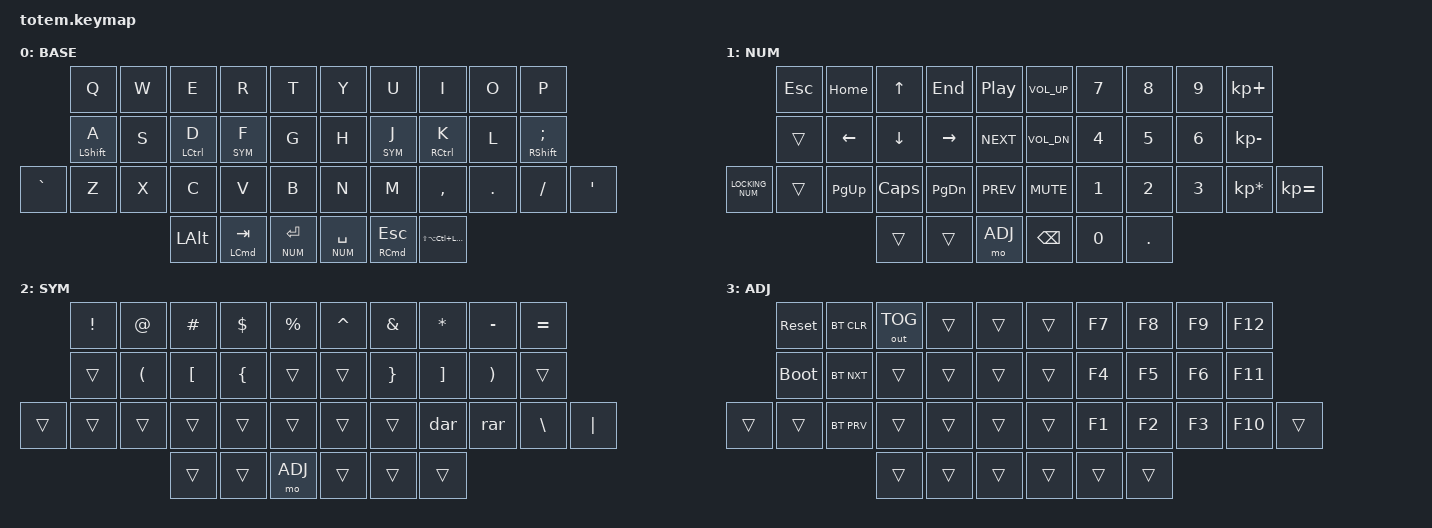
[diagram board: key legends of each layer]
//
//                                                        ▀▀▀▀▀     ▀▀▀▀▀          ▀▀█▀▀
//                                                        ▄▀▀▀▄  ▄  ▄▀▀▀▄  ▄  ▄▀▀▀▄  █  ▄▀▀▀▄
//                                                        █   █  █  █   █  █  █   █  █  █   █
//                                                         ▀▀▀   █   ▀▀▀   █   ▀▀▀   ▀   ▀▀▀
//                                                               █      ▄▄▄█▄▄▄    █   █
//                                                               ▀      █  █  █     █▄█
//                                                             ▀▀▀▀▀    █  █  █      ▀
//                                                                      ▀  ▀  ▀
//
// ▄▄▄▄▄▄▄▄▄▄▄▄▄▄▄▄▄▄▄▄▄▄▄▄▄▄▄▄▄▄▄▄▄▄▄▄▄▄▄▄▄▄▄▄▄▄▄▄▄▄▄▄▄▄▄▄▄▄▄▄▄▄▄▄▄▄▄▄▄▄▄▄▄▄▄▄▄▄▄▄▄▄▄▄▄▄▄▄▄▄▄▄▄▄▄▄▄▄▄▄▄▄▄▄▄▄▄▄▄▄▄▄▄▄▄▄▄▄▄▄▄▄▄▄▄▄▄▄▄▄▄▄▄▄▄▄▄▄▄▄▄▄▄▄▄▄▄▄▄

#include <behaviors.dtsi>
#include <dt-bindings/zmk/bt.h>
#include <dt-bindings/zmk/keys.h>
#include <dt-bindings/zmk/outputs.h>

#define BASE 0
#define NUM  1
#define SYM  2
#define ADJ  3
#define HYPER LS(LA(LC(LEFT_META)))

&mt {
    quick-tap-ms = <100>;
    global-quick-tap;
    flavor = "tap-preferred";
    tapping-term-ms = <170>;
};

/ {
    combos {
        compatible = "zmk,combos";

        combo_esc {
            timeout-ms = <50>;
            key-positions = <0 1>;
            bindings = <&kp ESC>;
        };
    };

    macros {
        gif: gif {
            label = "giphy";
            compatible = "zmk,behavior-macro";
            #binding-cells = <0>;
            bindings =
                <&macro_press>,
                <&kp LSHFT>,
                <&macro_tap>,
                <&kp N2>,
                <&macro_release>,
                <&kp LSHFT>,
                <&macro_tap>,
                <&kp G &kp I &kp F>;
        };

        rar: rar {
            label = "right arrow";
            compatible = "zmk,behavior-macro";
            #binding-cells = <0>;
            bindings = <&macro_tap>, <&kp MINUS &kp GT>;
        };

        dar: dar {
            label = "double right arrow";
            compatible = "zmk,behavior-macro";
            #binding-cells = <0>;
            bindings = <&macro_tap>, <&kp EQUAL &kp GT>;
        };
    };

    keymap {
        compatible = "zmk,keymap";

        // ▄▄▄▄▄▄▄▄▄▄▄▄▄▄▄▄▄▄▄▄▄▄▄▄▄▄▄▄▄▄▄▄▄▄▄▄▄▄▄▄▄▄▄▄▄▄▄▄▄▄▄▄▄▄▄▄▄▄▄▄▄▄▄▄▄▄▄▄▄▄▄▄▄▄▄▄▄▄▄▄▄▄▄▄▄▄▄▄▄▄▄▄▄▄▄▄▄▄▄▄▄▄▄▄▄▄▄▄▄▄▄▄▄▄▄▄▄▄▄▄▄▄▄▄▄▄▄▄▄▄▄▄▄▄▄▄▄▄▄▄▄▄▄▄▄▄▄▄▄

        base_layer {
            // ┏━━━━━━━━━━━━━━━━━━━━━━━━━━━━━━━━━━━━━━━┓

            label = "BASE";

            // ┗━━━━━━━━━━━━━━━━━━━━━━━━━━━━━━━━━━━━━━━┛
            //             ┏━━━━━━━━━━━┳━━━━━━━━━━━┳━━━━━━━━━━━┳━━━━━━━━━━━┳━━━━━━━━━━━┓   ┏━━━━━━━━━━━┳━━━━━━━━━━━┳━━━━━━━━━━━┳━━━━━━━━━━━┳━━━━━━━━━━━┓
            //             ┃     Q     ┃     W     ┃     E     ┃     R     ┃     T     ┃   ┃     Y     ┃     U     ┃     I     ┃     O     ┃     P     ┃
            //             ┣━━━━━━━━━━━╋━━━━━━━━━━━╋━━━━━━━━━━━╋━━━━━━━━━━━╋━━━━━━━━━━━┫   ┣━━━━━━━━━━━╋━━━━━━━━━━━╋━━━━━━━━━━━╋━━━━━━━━━━━╋━━━━━━━━━━━┫
            //             ┃   ⇧ | A   ┃     S     ┃   ^ | D   ┃  SYM | F  ┃     G     ┃   ┃     H     ┃  SYM | J  ┃   ^ | K   ┃     L     ┃   ⇧ | ;   ┃
            // ┏━━━━━━━━━━━╋━━━━━━━━━━━╋━━━━━━━━━━━╋━━━━━━━━━━━╋━━━━━━━━━━━╋━━━━━━━━━━━┫   ┣━━━━━━━━━━━╋━━━━━━━━━━━╋━━━━━━━━━━━╋━━━━━━━━━━━╋━━━━━━━━━━━╋━━━━━━━━━━━┓
            // ┃   ` | ~   ┃     Z     ┃     X     ┃     C     ┃     V     ┃     B     ┃   ┃     N     ┃     M     ┃     ,     ┃     .     ┃     /     ┃     '     ┃
            // ┗━━━━━━━━━━━┻━━━━━━━━━━━┻━━━━━━━━━━━╋━━━━━━━━━━━╋━━━━━━━━━━━╋━━━━━━━━━━━┫   ┣━━━━━━━━━━━╋━━━━━━━━━━━╋━━━━━━━━━━━╋━━━━━━━━━━━┻━━━━━━━━━━━┻━━━━━━━━━━━┛
            //                                     ┃     ⌥     ┃   ⌘ | ⇥   ┃  NUM | ⏎  ┃   ┃  NUM | _  ┃  ⌘ | ESC  ┃   HYPER   ┃
            //                                     ┗━━━━━━━━━━━┻━━━━━━━━━━━┻━━━━━━━━━━━┛   ┗━━━━━━━━━━━┻━━━━━━━━━━━┻━━━━━━━━━━━┛

            bindings = <
           &kp Q        &kp W  &kp E        &kp R         &kp T          &kp Y          &kp U         &kp I                 &kp O    &kp P
           &mt LSHFT A  &kp S  &mt LCTRL D  &lt SYM F     &kp G          &kp H          &lt SYM J     &mt RCTRL K           &kp L    &mt RSHFT SEMI
&kp GRAVE  &kp Z        &kp X  &kp C        &kp V         &kp B          &kp N          &kp M         &kp COMMA             &kp DOT  &kp FSLH        &kp SQT
                               &kp LALT     &mt LCMD TAB  &lt NUM RET    &lt NUM SPACE  &mt RCMD ESC  &kp LS(LA(LC(LCMD)))
            >;
        };

        // ▄▄▄▄▄▄▄▄▄▄▄▄▄▄▄▄▄▄▄▄▄▄▄▄▄▄▄▄▄▄▄▄▄▄▄▄▄▄▄▄▄▄▄▄▄▄▄▄▄▄▄▄▄▄▄▄▄▄▄▄▄▄▄▄▄▄▄▄▄▄▄▄▄▄▄▄▄▄▄▄▄▄▄▄▄▄▄▄▄▄▄▄▄▄▄▄▄▄▄▄▄▄▄▄▄▄▄▄▄▄▄▄▄▄▄▄▄▄▄▄▄▄▄▄▄▄▄▄▄▄▄▄▄▄▄▄▄▄▄▄▄▄▄▄▄▄▄▄▄

        nav_layer {
            // ┏━━━━━━━━━━━━━━━━━━━━━━━━━━━━━━━━━━━━━━━┓

            label = "NUM";

            // ┗━━━━━━━━━━━━━━━━━━━━━━━━━━━━━━━━━━━━━━━┛
            //             ┏━━━━━━━━━━━┳━━━━━━━━━━━┳━━━━━━━━━━━┳━━━━━━━━━━━┳━━━━━━━━━━━┓   ┏━━━━━━━━━━━┳━━━━━━━━━━━┳━━━━━━━━━━━┳━━━━━━━━━━━┳━━━━━━━━━━━┓
            //             ┃           ┃   HOME    ┃     UP    ┃    END    ┃     ⏯︎     ┃   ┃     🔊    ┃     7     ┃     8     ┃     9     ┃     +     ┃
            //             ┣━━━━━━━━━━━╋━━━━━━━━━━━╋━━━━━━━━━━━╋━━━━━━━━━━━╋━━━━━━━━━━━┫   ┣━━━━━━━━━━━╋━━━━━━━━━━━╋━━━━━━━━━━━╋━━━━━━━━━━━╋━━━━━━━━━━━┫
            //             ┃           ┃   LEFT    ┃    DOWN   ┃   RIGHT   ┃     ⏭︎     ┃   ┃     🔉    ┃     4     ┃     5     ┃     6     ┃     -     ┃
            // ┏━━━━━━━━━━━╋━━━━━━━━━━━╋━━━━━━━━━━━╋━━━━━━━━━━━╋━━━━━━━━━━━╋━━━━━━━━━━━┫   ┣━━━━━━━━━━━╋━━━━━━━━━━━╋━━━━━━━━━━━╋━━━━━━━━━━━╋━━━━━━━━━━━╋━━━━━━━━━━━┓
            // ┃           ┃           ┃   P UP    ┃  C LOCK   ┃  P DOWN   ┃     ⏮︎     ┃   ┃     🔇    ┃     1     ┃     2     ┃     3     ┃     *     ┃     =     ┃
            // ┗━━━━━━━━━━━┻━━━━━━━━━━━┻━━━━━━━━━━━╋━━━━━━━━━━━╋━━━━━━━━━━━╋━━━━━━━━━━━┫   ┣━━━━━━━━━━━╋━━━━━━━━━━━╋━━━━━━━━━━━╋━━━━━━━━━━━┻━━━━━━━━━━━┻━━━━━━━━━━━┛
            //                                     ┃           ┃           ┃    ADJ    ┃   ┃    BSPC   ┃     0     ┃     .     ┃
            //                                     ┗━━━━━━━━━━━┻━━━━━━━━━━━┻━━━━━━━━━━━┛   ┗━━━━━━━━━━━┻━━━━━━━━━━━┻━━━━━━━━━━━┛

            bindings = <
                 &kp ESC  &kp HOME   &kp UP    &kp END    &kp C_PP      &kp C_VOL_UP  &kp N7  &kp N8   &kp N9  &kp KP_PLUS
                 &trans   &kp LEFT   &kp DOWN  &kp RIGHT  &kp C_NEXT    &kp C_VOL_DN  &kp N4  &kp N5   &kp N6  &kp KP_MINUS
&kp LOCKING_NUM  &trans   &kp PG_UP  &kp CAPS  &kp PG_DN  &kp C_PREV    &kp C_MUTE    &kp N1  &kp N2   &kp N3  &kp KP_MULTIPLY  &kp KP_EQUAL
                                     &trans    &trans     &mo ADJ       &kp BSPC      &kp N0  &kp DOT
            >;
        };

        // ▄▄▄▄▄▄▄▄▄▄▄▄▄▄▄▄▄▄▄▄▄▄▄▄▄▄▄▄▄▄▄▄▄▄▄▄▄▄▄▄▄▄▄▄▄▄▄▄▄▄▄▄▄▄▄▄▄▄▄▄▄▄▄▄▄▄▄▄▄▄▄▄▄▄▄▄▄▄▄▄▄▄▄▄▄▄▄▄▄▄▄▄▄▄▄▄▄▄▄▄▄▄▄▄▄▄▄▄▄▄▄▄▄▄▄▄▄▄▄▄▄▄▄▄▄▄▄▄▄▄▄▄▄▄▄▄▄▄▄▄▄▄▄▄▄▄▄▄▄

        sym_layer {
            // ┏━━━━━━━━━━━━━━━━━━━━━━━━━━━━━━━━━━━━━━━┓

            label = "SYM";

            // ┗━━━━━━━━━━━━━━━━━━━━━━━━━━━━━━━━━━━━━━━┛
            //             ┏━━━━━━━━━━━┳━━━━━━━━━━━┳━━━━━━━━━━━┳━━━━━━━━━━━┳━━━━━━━━━━━┓   ┏━━━━━━━━━━━┳━━━━━━━━━━━┳━━━━━━━━━━━┳━━━━━━━━━━━┳━━━━━━━━━━━┓
            //             ┃     !     ┃     @     ┃     #     ┃     $     ┃     %     ┃   ┃     ˆ     ┃     &     ┃     *     ┃     -     ┃     "     ┃
            //             ┣━━━━━━━━━━━╋━━━━━━━━━━━╋━━━━━━━━━━━╋━━━━━━━━━━━╋━━━━━━━━━━━┫   ┣━━━━━━━━━━━╋━━━━━━━━━━━╋━━━━━━━━━━━╋━━━━━━━━━━━╋━━━━━━━━━━━┫
            //             ┃           ┃     (     ┃     [     ┃     {     ┃           ┃   ┃           ┃     }     ┃     ]     ┃     )     ┃           ┃
            // ┏━━━━━━━━━━━╋━━━━━━━━━━━╋━━━━━━━━━━━╋━━━━━━━━━━━╋━━━━━━━━━━━╋━━━━━━━━━━━┫   ┣━━━━━━━━━━━╋━━━━━━━━━━━╋━━━━━━━━━━━╋━━━━━━━━━━━╋━━━━━━━━━━━╋━━━━━━━━━━━┓
            // ┃           ┃           ┃           ┃           ┃           ┃           ┃   ┃           ┃           ┃    =>     ┃    ->     ┃     \     ┃     |     ┃
            // ┗━━━━━━━━━━━┻━━━━━━━━━━━┻━━━━━━━━━━━╋━━━━━━━━━━━╋━━━━━━━━━━━╋━━━━━━━━━━━┫   ┣━━━━━━━━━━━╋━━━━━━━━━━━╋━━━━━━━━━━━╋━━━━━━━━━━━┻━━━━━━━━━━━┻━━━━━━━━━━━┛
            //                                     ┃           ┃           ┃    ADJ    ┃   ┃           ┃           ┃           ┃
            //                                     ┗━━━━━━━━━━━┻━━━━━━━━━━━┻━━━━━━━━━━━┛   ┗━━━━━━━━━━━┻━━━━━━━━━━━┻━━━━━━━━━━━┛

            bindings = <
        &kp EXCL  &kp AT    &kp HASH  &kp DLLR  &kp PRCNT    &kp CARET  &kp AMPS  &kp STAR  &kp MINUS  &kp EQUAL
        &trans    &kp LPAR  &kp LBKT  &kp LBRC  &trans       &trans     &kp RBRC  &kp RBKT  &kp RPAR   &trans
&trans  &trans    &trans    &trans    &trans    &trans       &trans     &trans    &dar      &rar       &kp BSLH   &kp PIPE
                            &trans    &trans    &mo ADJ      &trans     &trans    &trans
            >;
        };

        // ▄▄▄▄▄▄▄▄▄▄▄▄▄▄▄▄▄▄▄▄▄▄▄▄▄▄▄▄▄▄▄▄▄▄▄▄▄▄▄▄▄▄▄▄▄▄▄▄▄▄▄▄▄▄▄▄▄▄▄▄▄▄▄▄▄▄▄▄▄▄▄▄▄▄▄▄▄▄▄▄▄▄▄▄▄▄▄▄▄▄▄▄▄▄▄▄▄▄▄▄▄▄▄▄▄▄▄▄▄▄▄▄▄▄▄▄▄▄▄▄▄▄▄▄▄▄▄▄▄▄▄▄▄▄▄▄▄▄▄▄▄▄▄▄▄▄▄▄▄

        adjust_layer {
            // ┏━━━━━━━━━━━━━━━━━━━━━━━━━━━━━━━━━━━━━━━┓

            label = "ADJ";

            // ┗━━━━━━━━━━━━━━━━━━━━━━━━━━━━━━━━━━━━━━━┛
            //             ┏━━━━━━━━━━━┳━━━━━━━━━━━┳━━━━━━━━━━━┳━━━━━━━━━━━┳━━━━━━━━━━━┓   ┏━━━━━━━━━━━┳━━━━━━━━━━━┳━━━━━━━━━━━┳━━━━━━━━━━━┳━━━━━━━━━━━┓
            //             ┃   RESET   ┃ BT CLEAR  ┃  OUT TOG  ┃           ┃           ┃   ┃           ┃    F7     ┃    F8     ┃    F9     ┃    F12    ┃
            //             ┣━━━━━━━━━━━╋━━━━━━━━━━━╋━━━━━━━━━━━╋━━━━━━━━━━━╋━━━━━━━━━━━┫   ┣━━━━━━━━━━━╋━━━━━━━━━━━╋━━━━━━━━━━━╋━━━━━━━━━━━╋━━━━━━━━━━━┫
            //             ┃ BOOTLOAD  ┃ BT NEXT   ┃           ┃           ┃           ┃   ┃           ┃    F4     ┃    F5     ┃    F6     ┃    F11    ┃
            // ┏━━━━━━━━━━━╋━━━━━━━━━━━╋━━━━━━━━━━━╋━━━━━━━━━━━╋━━━━━━━━━━━╋━━━━━━━━━━━┫   ┣━━━━━━━━━━━╋━━━━━━━━━━━╋━━━━━━━━━━━╋━━━━━━━━━━━╋━━━━━━━━━━━╋━━━━━━━━━━━┓
            // ┃           ┃           ┃ BT PREV   ┃           ┃           ┃           ┃   ┃           ┃    F1     ┃    F2     ┃    F3     ┃    F10    ┃           ┃
            // ┗━━━━━━━━━━━┻━━━━━━━━━━━┻━━━━━━━━━━━╋━━━━━━━━━━━╋━━━━━━━━━━━╋━━━━━━━━━━━┫   ┣━━━━━━━━━━━╋━━━━━━━━━━━╋━━━━━━━━━━━╋━━━━━━━━━━━┻━━━━━━━━━━━┻━━━━━━━━━━━┛
            //                                     ┃           ┃           ┃           ┃   ┃           ┃           ┃           ┃
            //                                     ┗━━━━━━━━━━━┻━━━━━━━━━━━┻━━━━━━━━━━━┛   ┗━━━━━━━━━━━┻━━━━━━━━━━━┻━━━━━━━━━━━┛

            bindings = <
        &sys_reset   &bt BT_CLR  &out OUT_TOG  &trans  &trans    &trans  &kp F7  &kp F8  &kp F9  &kp F12
        &bootloader  &bt BT_NXT  &trans        &trans  &trans    &trans  &kp F4  &kp F5  &kp F6  &kp F11
&trans  &trans       &bt BT_PRV  &trans        &trans  &trans    &trans  &kp F1  &kp F2  &kp F3  &kp F10  &trans
                                 &trans        &trans  &trans    &trans  &trans  &trans
            >;
        };
    };
};
